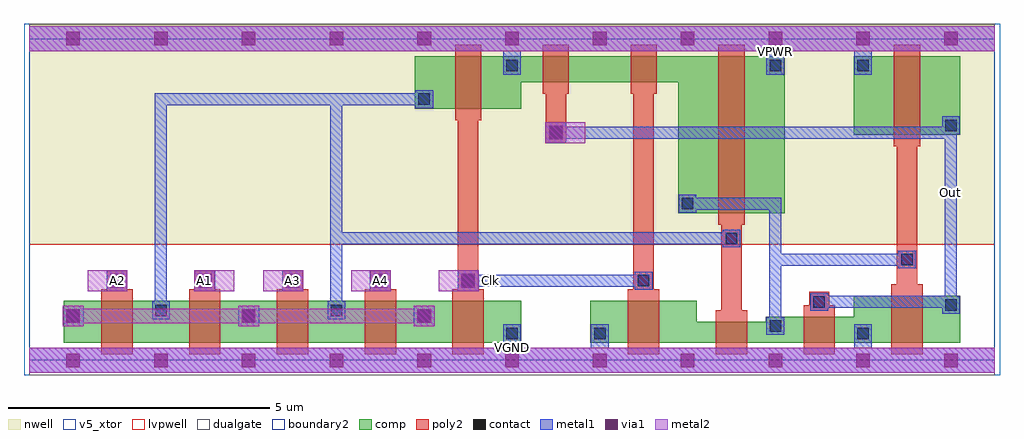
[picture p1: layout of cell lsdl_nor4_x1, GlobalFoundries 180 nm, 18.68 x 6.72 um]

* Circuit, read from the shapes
.subckt lsdl_nor4_x1 A1 A2 A3 A4 Clk Out VGND VPWR
XM1 n1 A2 n2 VSUBS nfet_05v0 w=0.8u l=0.6u
XM2 n2 A1 n1 VSUBS nfet_05v0 w=0.8u l=0.6u
XM3 n1 A3 n2 VSUBS nfet_05v0 w=0.8u l=0.6u
XM4 n2 A4 n1 VSUBS nfet_05v0 w=0.8u l=0.6u
XM5 VGND Clk n2 VSUBS nfet_05v0 w=0.8u l=0.6u
XM6 n3 Clk VGND VSUBS nfet_05v0 w=0.8u l=0.6u
XM7 n4 n1 n3 VSUBS nfet_05v0 w=0.4u l=0.6u
XM8 VGND Out n4 VSUBS nfet_05v0 w=0.5u l=0.6u
XM9 Out n4 VGND VSUBS nfet_05v0 w=0.9u l=0.6u
XM10 VPWR Clk n1 n5 pfet_05v0 w=1u l=0.5u
XM11 n6 Out VPWR n5 pfet_05v0 w=0.5u l=0.5u
XM12 n4 Clk n6 n5 pfet_05v0 w=0.5u l=0.5u
XM13 VPWR n1 n4 n5 pfet_05v0 w=3u l=0.5u
XM14 Out n4 VPWR n5 pfet_05v0 w=1.5u l=0.5u
.ends

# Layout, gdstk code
import gdstk
lib = gdstk.Library(unit=1e-6, precision=1e-09)
def R(c, l, rs):  # rectangles x0, y0, x1, y1
    for r in rs: c.add(gdstk.rectangle(r[:2], r[2:], *l))
def A(c, l, x, y, w, h, nx, ny, dx, dy):  # array of equal rectangles
    R(c, l, [(x+i*dx, y+j*dy, x+i*dx+w, y+j*dy+h) for i in range(nx) for j in range(ny)])
def P(c, l, *ps):  # polygons
    for p in ps: c.add(gdstk.Polygon(p, *l))
nwell = (21, 0)
comp = (22, 0)
poly2 = (30, 0)
contact = (33, 0)
metal1 = (34, 0)
via1 = (35, 0)
metal2 = (36, 0)
dualgate = (55, 0)
boundary2 = (63, 0)
v5_xtor = (112, 1)
lvpwell = (204, 0)

lsdl_nor4_x1 = lib.new_cell('lsdl_nor4_x1')
R(lsdl_nor4_x1, nwell, [(0,2.22,18.48,6.42)])
R(lsdl_nor4_x1, comp, [(0.66,0.34,9.42,1.14), (15.78,4.32,17.82,5.82)])
P(lsdl_nor4_x1, comp, [(10.74,0.34),(10.74,1.14),(12.78,1.14),(12.78,0.74),(14.1,0.74),(14.1,0.84),(15.78,0.84),(15.78,1.24),(17.82,1.24),(17.82,0.34)],
  [(12.42,2.82),(12.42,5.32),(9.42,5.32),(9.42,4.82),(7.38,4.82),(7.38,5.82),(14.46,5.82),(14.46,2.82)])
P(lsdl_nor4_x1, poly2, [(14.82,0.12),(14.82,1.06),(14.925,1.06),(14.925,1.315),(15.315,1.315),(15.315,1.06),(15.42,1.06),(15.42,0.12)],
  [(1.38,0.12),(1.38,1.36),(1.485,1.36),(1.485,1.72),(1.875,1.72),(1.875,1.36),(1.98,1.36),(1.98,0.12)],
  [(3.06,0.12),(3.06,1.36),(3.165,1.36),(3.165,1.72),(3.555,1.72),(3.555,1.36),(3.66,1.36),(3.66,0.12)],
  [(4.74,0.12),(4.74,1.36),(4.845,1.36),(4.845,1.72),(5.235,1.72),(5.235,1.36),(5.34,1.36),(5.34,0.12)],
  [(6.42,0.12),(6.42,1.36),(6.525,1.36),(6.525,1.72),(6.915,1.72),(6.915,1.36),(7.02,1.36),(7.02,0.12)],
  [(8.1,0.12),(8.1,1.36),(8.205,1.36),(8.205,4.6),(8.15,4.6),(8.15,6.04),(8.65,6.04),(8.65,4.6),(8.595,4.6),(8.595,1.36),(8.7,1.36),(8.7,0.12)],
  [(9.885,4.165),(9.885,5.1),(9.83,5.1),(9.83,6.04),(10.33,6.04),(10.33,5.1),(10.275,5.1),(10.275,4.165)],
  [(11.46,0.12),(11.46,1.36),(11.565,1.36),(11.565,5.1),(11.51,5.1),(11.51,6.04),(12.01,6.04),(12.01,5.1),(11.955,5.1),(11.955,1.36),(12.06,1.36),(12.06,0.12)],
  [(13.14,0.12),(13.14,0.96),(13.245,0.96),(13.245,2.6),(13.19,2.6),(13.19,6.04),(13.69,6.04),(13.69,2.6),(13.635,2.6),(13.635,0.96),(13.74,0.96),(13.74,0.12)],
  [(16.5,0.12),(16.5,1.46),(16.605,1.46),(16.605,4.1),(16.55,4.1),(16.55,6.04),(17.05,6.04),(17.05,4.1),(16.995,4.1),(16.995,1.46),(17.1,1.46),(17.1,0.12)])
A(lsdl_nor4_x1, contact, 0.73, 0.74, 0.22, 0.22, 3, 1, 3.36, 0)
A(lsdl_nor4_x1, contact, 1.57, 1.415, 0.22, 0.22, 5, 1, 1.68, 0)
R(lsdl_nor4_x1, contact, [(9.13,0.41,9.35,0.63), (10.81,0.41,11.03,0.63), (15.85,0.41,16.07,0.63), (14.17,0.55,14.39,0.77), (2.41,0.85,2.63,1.07), (5.77,0.85,5.99,1.07), (17.53,0.95,17.75,1.17), (15.01,1.01,15.23,1.23), (11.65,1.415,11.87,1.635), (16.69,1.82,16.91,2.04), (13.33,2.225,13.55,2.445), (12.49,2.89,12.71,3.11), (9.97,4.25,10.19,4.47), (17.53,4.39,17.75,4.61), (7.45,4.89,7.67,5.11), (9.13,5.53,9.35,5.75), (14.17,5.53,14.39,5.75), (15.85,5.53,16.07,5.75)])
A(lsdl_nor4_x1, metal1, 0.64, 0.65, 0.4, 0.4, 3, 1, 3.36, 0)
A(lsdl_nor4_x1, metal1, 1.48, 1.325, 0.4, 0.4, 4, 1, 1.68, 0)
P(lsdl_nor4_x1, metal1, [(0,-0.24),(0,0.24),(9.07,0.24),(9.07,0.69),(9.41,0.69),(9.41,0.24),(10.75,0.24),(10.75,0.69),(11.09,0.69),(11.09,0.24),(15.79,0.24),(15.79,0.69),(16.13,0.69),(16.13,0.24),(18.48,0.24),(18.48,-0.24)],
  [(8.2,1.325),(8.2,1.725),(8.6,1.725),(8.6,1.64),(11.59,1.64),(11.59,1.695),(11.93,1.695),(11.93,1.355),(11.59,1.355),(11.59,1.41),(8.6,1.41),(8.6,1.325)],
  [(14.11,0.49),(14.11,0.83),(14.165,0.83),(14.165,2.885),(12.77,2.885),(12.77,2.83),(12.43,2.83),(12.43,3.17),(12.77,3.17),(12.77,3.115),(14.395,3.115),(14.395,2.045),(16.63,2.045),(16.63,2.1),(16.97,2.1),(16.97,1.76),(16.63,1.76),(16.63,1.815),(14.395,1.815),(14.395,0.83),(14.45,0.83),(14.45,0.49)],
  [(17.47,0.89),(17.47,1.005),(15.29,1.005),(15.29,0.95),(14.95,0.95),(14.95,1.29),(15.29,1.29),(15.29,1.235),(17.525,1.235),(17.525,4.245),(10.28,4.245),(10.28,4.16),(9.88,4.16),(9.88,4.56),(10.28,4.56),(10.28,4.475),(17.47,4.475),(17.47,4.67),(17.81,4.67),(17.81,4.33),(17.755,4.33),(17.755,1.23),(17.81,1.23),(17.81,0.89)],
  [(2.35,0.79),(2.35,1.13),(2.405,1.13),(2.405,5.115),(7.39,5.115),(7.39,5.17),(7.73,5.17),(7.73,4.83),(7.39,4.83),(7.39,4.885),(5.995,4.885),(5.995,2.45),(13.27,2.45),(13.27,2.505),(13.61,2.505),(13.61,2.165),(13.27,2.165),(13.27,2.22),(5.995,2.22),(5.995,1.13),(6.05,1.13),(6.05,0.79),(5.71,0.79),(5.71,1.13),(5.765,1.13),(5.765,4.885),(2.635,4.885),(2.635,1.13),(2.69,1.13),(2.69,0.79)],
  [(9.07,5.47),(9.07,5.92),(0,5.92),(0,6.4),(18.48,6.4),(18.48,5.92),(16.13,5.92),(16.13,5.47),(15.79,5.47),(15.79,5.92),(14.45,5.92),(14.45,5.47),(14.11,5.47),(14.11,5.92),(9.41,5.92),(9.41,5.47)])
A(lsdl_nor4_x1, via1, 0.71, -0.13, 0.26, 0.26, 11, 2, 1.68, 6.16)
A(lsdl_nor4_x1, via1, 0.71, 0.72, 0.26, 0.26, 3, 1, 3.36, 0)
A(lsdl_nor4_x1, via1, 1.55, 1.395, 0.26, 0.26, 5, 1, 1.68, 0)
R(lsdl_nor4_x1, via1, [(9.95,4.23,10.21,4.49)])
A(lsdl_nor4_x1, metal2, 4.48, 1.325, 0.76, 0.4, 3, 1, 1.68, 0)
R(lsdl_nor4_x1, metal2, [(0,-0.24,18.48,0.24), (1.12,1.325,1.88,1.725), (3.16,1.325,3.92,1.725), (9.88,4.16,10.64,4.56), (0,5.92,18.48,6.4)])
P(lsdl_nor4_x1, metal2, [(0.64,0.65),(0.64,1.05),(1.04,1.05),(1.04,0.99),(4,0.99),(4,1.05),(4.4,1.05),(4.4,0.99),(7.36,0.99),(7.36,1.05),(7.76,1.05),(7.76,0.65),(7.36,0.65),(7.36,0.71),(4.4,0.71),(4.4,0.65),(4,0.65),(4,0.71),(1.04,0.71),(1.04,0.65)])
R(lsdl_nor4_x1, dualgate, [(0,-0.28,18.48,6.44)])
R(lsdl_nor4_x1, boundary2, [(0,0,18.48,6.16)])
R(lsdl_nor4_x1, v5_xtor, [(-0.1,-0.28,18.58,6.44)])
R(lsdl_nor4_x1, lvpwell, [(0,0,18.48,2.22)])
lsdl_nor4_x1.add(gdstk.Label('A1', (3.36,1.527), layer=34, texttype=0))
lsdl_nor4_x1.add(gdstk.Label('A2', (1.68,1.527), layer=34, texttype=0))
lsdl_nor4_x1.add(gdstk.Label('A3', (5.04,1.527), layer=34, texttype=0))
lsdl_nor4_x1.add(gdstk.Label('A4', (6.72,1.527), layer=34, texttype=0))
lsdl_nor4_x1.add(gdstk.Label('Clk', (8.82,1.527), layer=34, texttype=0))
lsdl_nor4_x1.add(gdstk.Label('Out', (17.64,3.214), layer=34, texttype=0))
lsdl_nor4_x1.add(gdstk.Label('VPWR', (14.28,5.914), layer=34, texttype=0))
lsdl_nor4_x1.add(gdstk.Label('VGND', (9.24,0.244), layer=34, texttype=0))

lib.write_gds('lsdl_nor4_x1.gds')
